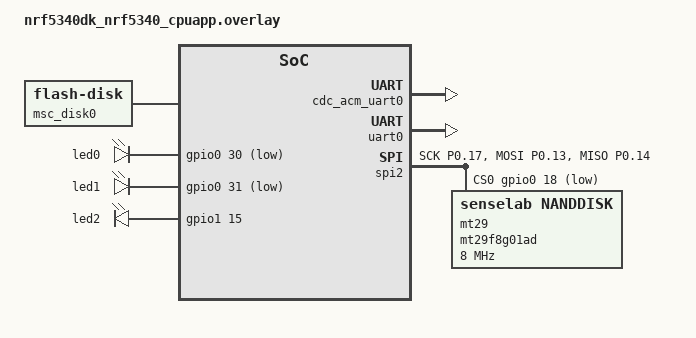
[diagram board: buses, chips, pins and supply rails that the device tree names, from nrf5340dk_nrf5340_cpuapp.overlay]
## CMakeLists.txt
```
# SPDX-License-Identifier: Apache-2.0

cmake_minimum_required(VERSION 3.20.0)

#add_subdirectory(src/drivers)

list(APPEND ZEPHYR_EXTRA_MODULES ${CMAKE_CURRENT_SOURCE_DIR}/src/drivers)

find_package(Zephyr REQUIRED HINTS $ENV{ZEPHYR_BASE})

project(spi_flash)



FILE(GLOB app_sources src/*.c)
target_sources(app PRIVATE ${app_sources})
```

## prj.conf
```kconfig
CONFIG_STDOUT_CONSOLE=y
CONFIG_DEBUG_OPTIMIZATIONS=y

CONFIG_TEST_RANDOM_GENERATOR=y
CONFIG_TIMER_RANDOM_GENERATOR=y

CONFIG_LOG=y
CONFIG_LOG_BUFFER_SIZE=10096
CONFIG_FLASH_LOG_LEVEL_INF=y
CONFIG_FLASH=y
CONFIG_FLASH_PAGE_LAYOUT=y
CONFIG_FLASH_MAP=y
CONFIG_LOG_PRINTK=y
CONFIG_PRINTK=y
CONFIG_BOARD_ENABLE_DCDC_APP=n
CONFIG_BOARD_ENABLE_DCDC_NET=n
CONFIG_USE_SEGGER_RTT=y
CONFIG_RTT_CONSOLE=y
CONFIG_LOG_BACKEND_RTT=y

CONFIG_BT=y
#CONFIG_BOOTLOADER_MCUBOOT=y
#CONFIG_DEBUG=y
#CONFIG_NO_OPTIMIZATIONS=y
CONFIG_USB_MASS_STORAGE=y
CONFIG_MASS_STORAGE_DISK_NAME="SD"
CONFIG_MASS_STORAGE_STACK_SIZE=4096
CONFIG_USB_MASS_STORAGE_LOG_LEVEL_INF=y

CONFIG_USB_DEVICE_STACK=y
CONFIG_USB_DEVICE_PRODUCT="Zephyr MSC sample"
CONFIG_USB_DEVICE_PID=0x0008
CONFIG_USB_DEVICE_INITIALIZE_AT_BOOT=n
CONFIG_DISK_ACCESS=y
CONFIG_DISK_DRIVER_RAM=n
CONFIG_DISK_DRIVER_RAW_NAND=y
CONFIG_DISK_DRIVER_FLASH=n

CONFIG_SPI_NOR_FLASH_LAYOUT_PAGE_SIZE=4096


CONFIG_FILE_SYSTEM=y
CONFIG_FAT_FILESYSTEM_ELM=y

CONFIG_FS_FATFS_MAX_SS=4096
CONFIG_FS_FATFS_EXFAT=n
CONFIG_FS_FATFS_MAX_ROOT_ENTRIES=4096
CONFIG_FS_FATFS_LFN=y

CONFIG_FILE_SYSTEM_LITTLEFS=n
CONFIG_FS_LITTLEFS_BLK_DEV=y

CONFIG_FS_LITTLEFS_CACHE_SIZE=4096
CONFIG_FS_LITTLEFS_READ_SIZE=4096
CONFIG_FS_LITTLEFS_PROG_SIZE=4096
CONFIG_FS_LITTLEFS_LOOKAHEAD_SIZE=4096

CONFIG_MAIN_STACK_SIZE=50000
```

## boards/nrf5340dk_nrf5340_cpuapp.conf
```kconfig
#
# Copyright (c) 2020 Nordic Semiconductor ASA
#
# SPDX-License-Identifier: Apache-2.0
#

CONFIG_SPI=y
```

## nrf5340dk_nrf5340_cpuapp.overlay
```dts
/*
 * Copyright (c) 2020 Nordic Semiconductor ASA
 *
 * SPDX-License-Identifier: Apache-2.0
 */

 

 / {
aliases {
	spi-flash0 = &mt29;
	
};
 };

 / {
	chosen {
	
		zephyr,console = &cdc_acm_uart0;
        zephyr,shell-uart = &cdc_acm_uart0;
		};
	};
	


 &spi1 {
    status = "disabled";
};

&spi4 {
	status = "disabled";
};



&zephyr_udc0 {
    cdc_acm_uart0: cdc_acm_uart0 {
        compatible = "zephyr,cdc-acm-uart";
    };
};


&uart0 {
	status = "okay";
};

&i2c1 {
	status = "disabled";
};

&pwm0 {
	status = "disabled";
};




 &led0 {
    status = "okay";
	gpios = <&gpio0 30 GPIO_ACTIVE_LOW>;
};


&led1 {
    status = "okay";
    gpios = <&gpio0 31 GPIO_ACTIVE_LOW>;
};

&led2 {
    status = "okay";
	gpios = <&gpio1 15 GPIO_ACTIVE_HIGH>;
};



&led3 {
    status = "disabled";
};



&button0 {
    status = "disabled";
};

&button1 {
    status = "disabled";
};

&button2 {
    status = "disabled";
};

&button3 {
    status = "disabled";
};

&gpio_fwd {
	status = "okay";
};

/* End dev kit trim section */


 
&spi2 {
	status = "okay";
	pinctrl-0 = < &spi_flash_default>;
	pinctrl-1 = <&spi_flash_sleep>;
	pinctrl-names = "default", "sleep";
	cs-gpios = <&gpio0 18 GPIO_ACTIVE_LOW>, <&gpio0 4 GPIO_ACTIVE_LOW>;
	mt29: mt29f8g01ad@0 {
		compatible = "senselab,nanddisk";
		//size = <4194304000>;
		// size needs to be in bytes
		//size = <1073725440>;
		size = <2147450880>;
		reg = <0>;
		spi-max-frequency = <8000000>;
		jedec-id = [00 2c 47];
		status = "okay";
	};

};


&spi4 {
	status = "disabled";
	pinctrl-0 = < &spi_flash_default>;
	pinctrl-1 = <&spi_flash_sleep>;
	pinctrl-names = "default", "sleep";
	cs-gpios = <&gpio0 18 GPIO_ACTIVE_LOW>, <&gpio0 4 GPIO_ACTIVE_LOW>;
	mx66u: mx66u2g45g@0 {
		compatible = "jedec,spi-nor";
		//size = <4194304000>;
		// size needs to be in bytes
		//size = <1073725440>;
		size = <2147450880>;
		reg = <0>;
		spi-max-frequency = <8000000>;
		jedec-id = [c2 25 3c];
		status = "disabled";
	};

};


&qspi {
	status = "disabled";
};


/* 
&qspi {
	status = "okay";
	pinctrl-0 = <&qspi_default>;
	pinctrl-1 = <&qspi_sleep>;
	pinctrl-names = "default", "sleep";
	mx25r64: mx25r6435f@0 {
		compatible = "nordic,qspi-nor";
		reg = <0>;
		
		writeoc = "pp4io";
	
		readoc = "read4io";
		sck-frequency = <8000000>;
		jedec-id = [c2 28 17];
		sfdp-bfp = [
			e5 20 f1 ff  ff ff ff 03  44 eb 08 6b  08 3b 04 bb
			ee ff ff ff  ff ff 00 ff  ff ff 00 ff  0c 20 0f 52
			10 d8 00 ff  23 72 f5 00  82 ed 04 cc  44 83 68 44
			30 b0 30 b0  f7 c4 d5 5c  00 be 29 ff  f0 d0 ff ff
		];
		size = <67108864>;
		has-dpd;
		t-enter-dpd = <10000>;
		t-exit-dpd = <35000>;
	};
};

*/



&pinctrl {
	
 spi_flash_default: spi_flash_default {
	group1 {
		psels = <NRF_PSEL(SPIM_SCK, 0, 17)>,
			<NRF_PSEL(SPIM_MOSI, 0, 13)>,
			<NRF_PSEL(SPIM_MISO, 0, 14)>;
			
	};
};

spi_flash_sleep: spi_flash_sleep {
	group1 {
		psels = <NRF_PSEL(SPIM_SCK, 0, 17)>,
		<NRF_PSEL(SPIM_MOSI, 0, 13)>,
		<NRF_PSEL(SPIM_MISO, 0, 14)>;
		low-power-enable;
	};
};
	

spi1_default: spi1_default {
	group1 {
		psels = <NRF_PSEL(SPIM_SCK, 0, 23)>,
			<NRF_PSEL(SPIM_MISO, 0, 25)>,
			<NRF_PSEL(SPIM_MOSI, 0, 24)>,
			<NRF_PSEL(SPIS_CSN, 0, 26)>; 
	};
};

spi1_sleep: spi1_sleep {
	group1 {
		psels = <NRF_PSEL(SPIM_SCK, 0, 23)>,
			<NRF_PSEL(SPIM_MISO, 0, 25)>,
			<NRF_PSEL(SPIM_MOSI, 0, 24)>,
			<NRF_PSEL(SPIS_CSN, 0, 26)>;
		low-power-enable;
	};
};



};



/* 
&spi0 {
	status = "okay";
	compatible = "microchip,xec-qmspi-ldma";
	clock-frequency = <24000000>;
	lines = <4>;
	chip-select = <0>;

	pinctrl-0 = < &shd_cs0_n_gpio055
		      &shd_clk_gpio056
		      &shd_io0_gpio223
		      &shd_io1_gpio224
		      &shd_io2_gpio227
		      &shd_io3_gpio016 >;
	pinctrl-names = "default";

	spi1_cs0_flash: w25q128@0 {
		compatible = "jedec,spi-nor";
		size = <0x8000000>;
		reg = <0>;
		spi-max-frequency = <24000000>;
		jedec-id = [ef 40 18];
		status = "okay";
	};
};

 */

 
 /delete-node/ &storage_partition;

&mx66u {
	partitions {
		compatible = "fixed-partitions";
		#address-cells = <1>;
		#size-cells = <1>;

		storage_partition: partition@0 {
			label = "storage";
			reg = <0x00000000 0x000600000>;
		};
	};
};

/ {
	msc_disk0 {
		compatible = "zephyr,flash-disk";
		partition = <&storage_partition>;
		disk-name = "SD";
		cache-size = <4096>;
	};
};
```

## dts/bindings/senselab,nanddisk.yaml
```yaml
description: |
  Zephyr MMC disk node. A binding with this compatible present within an SD
  host controller device node indicates that an SDMMC disk is attached to that
  SD bus. This binding will enable that disk to be used with the disk driver
  API and any subsystems that utilize it.

compatible: "senselab,nanddisk"

include: ["spi-device.yaml", "jedec,spi-nor-common.yaml"]

properties:
  reg:
    required: true

  jedec-id:
    required: true

  size:
    type: int
    description: |
      The size in bits. Set this or size-in-bytes, but not both.
```

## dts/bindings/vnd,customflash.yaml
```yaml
# Copyright (c) 2019 Nordic Semiconductor ASA
# SPDX-License-Identifier: Apache-2.0

description: |
  QSPI NOR flash supporting the JEDEC CFI interface.

compatible: "senselab,qspinand"

include: [base.yaml, "jedec,spi-nor-common.yaml"]

on-bus: qspi

properties:
  reg:
    required: true

  jedec-id:
    required: true

  size:
    type: int
    description: |
      The size in bits. Set this or size-in-bytes, but not both.

  size-in-bytes:
    type: int
    description: |
      The size in bytes. Set this or size, but not both.

  # Match original driver NORDIC_QSPI_NOR_QE_BIT Kconfig default.
  quad-enable-requirements:
    default: "S1B6"

  readoc:
    type: string
    enum:
      - "fastread"        # Single data line SPI, FAST_READ (0x0B)
      - "read2o"          # Dual data line SPI, READ2O (0x3B)
      - "read2io"         # Dual data line SPI, READ2IO (0xBB)
      - "read4o"          # Quad data line SPI, READ4O (0x6B)
      - "read4io"         # Quad data line SPI, READ4IO (0xEB)
    description: |
      Specify the number of data lines and opcode used for reading.
      If not provided fastread will be selected.

  writeoc:
    type: string
    enum:
      - "pp"            # Single data line SPI, PP (0x02)
      - "pp2o"          # Dual data line SPI, PP2O (0xA2)
      - "pp4o"          # Quad data line SPI, PP4O (0x32)
      - "pp4io"         # Quad data line SPI, PP4IO (0x38)
    description: |
      Specify the number of data lines and opcode used for writing.
      If not provided pp will be selected.

  address-size-32:
    type: boolean
    description: |
      Set to indicate that 32-bit addressing is to be used.
      If not specified 24-bit addressing will be used.

  ppsize-512:
    type: boolean
    description: |
      Set to indicate that the write opcode operates on 512-byte pages.
      If not specified the write opcode operates on 256-byte pages.

  sck-delay:
    type: int
    default: 0
    description: |
      Number of clock cycles CSn must be asserted before it can go low
      again, specified in nanoseconds.

  rx-delay:
    type: int
    description: |
      Number of clock cycles from the rising edge of the SPI clock
      until the input serial data is sampled.

  cpha:
    type: boolean
    description: |
      Set to indicate phase starts with asserted half-phase (CPHA=1).
      For this driver using this property requires also using cpol.

  cpol:
    type: boolean
    description: |
      Set to indicate clock leading edge is falling (CPOL=1).
      For this driver using this property requires also using cpha.

  sck-frequency:
    type: int
    required: true
    description: |
      Maximum clock speed supported by the device, in Hz.
```

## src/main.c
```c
/*
 * Copyright (c) 2016 Intel Corporation.
 *
 * SPDX-License-Identifier: Apache-2.0
 */

#include <zephyr/kernel.h>
#include <zephyr/drivers/flash.h>
#include <zephyr/drivers/disk.h>
#include <zephyr/storage/disk_access.h>
#include "drivers/nand_disk.h"
#include "drivers/spi_nand.h"
#include <zephyr/device.h>
#include <zephyr/devicetree.h>
#include <zephyr/drivers/gpio.h>
#include <stdio.h>
#include <string.h>
#include <zephyr/usb/usb_device.h>
#include <zephyr/usb/class/usbd_msc.h>
#include <zephyr/usb/usbd.h>

#include <zephyr/logging/log.h>

LOG_MODULE_REGISTER(main, 3);

#if defined(CONFIG_BOARD_ADAFRUIT_FEATHER_STM32F405)
#define SPI_FLASH_TEST_REGION_OFFSET 0xf000
#elif defined(CONFIG_BOARD_ARTY_A7_ARM_DESIGNSTART_M1) || \
	defined(CONFIG_BOARD_ARTY_A7_ARM_DESIGNSTART_M3)
/* The FPGA bitstream is stored in the lower 536 sectors of the flash. */
#define SPI_FLASH_TEST_REGION_OFFSET \
	DT_REG_SIZE(DT_NODE_BY_FIXED_PARTITION_LABEL(fpga_bitstream))
#elif defined(CONFIG_BOARD_NPCX9M6F_EVB) || \
	defined(CONFIG_BOARD_NPCX7M6FB_EVB)
#define SPI_FLASH_TEST_REGION_OFFSET 0x7F000
#else
#define SPI_FLASH_TEST_REGION_OFFSET 0xff000
#endif
#define SPI_FLASH_SECTOR_SIZE        4096

#define LED0_NODE DT_ALIAS(led0)

#define LED_PIN DT_GPIO_PIN(LED0_NODE, gpios)
#define LED_FLAGS DT_GPIO_FLAGS(LED0_NODE, gpios)

#define POWER_NODE DT_ALIAS(led2)
#define POWER_PIN DT_GPIO_PIN(POWER_NODE, gpios)
#define POWER_FLAGS DT_GPIO_FLAGS(POWER_NODE, gpios)


int flash_erase_test(const struct device* flash_dev, bool chip_erase){

	int rc;
	/* Write protection needs to be disabled before each write or
	 * erase, since the flash component turns on write protection
	 * automatically after completion of write and erase
	 * operations.
	 */
	
	
	//detect_bad_blocks(flash_dev);
	/* Full flash erase if SPI_FLASH_TEST_REGION_OFFSET = 0 and
	 * SPI_FLASH_SECTOR_SIZE = flash size
	 */
	
	if (chip_erase){
	#ifdef CONFIG_DISK_DRIVER_RAW_NAND
	//rc = spi_nand_whole_chip_erase(flash_dev);
	rc = spi_nand_multi_chip_erase(flash_dev);
	//rc = spi_nand_block_erase(flash_dev, 64);
	#endif
	if (rc != 0) {
		printk("Flash erase failed! %d\n", rc);
	} else {
		printk("Flash erase succeeded!\n");
	}
	}
	return rc;
}

#ifdef CONFIG_DISK_DRIVER_RAW_NAND
int flash_simple_read_erased_test(const struct device* flash_dev){
	int rc;

	return rc;
}	

int flash_simple_write_read_test(const struct device* flash_dev, bool write, bool read_out_whole_page, int sector){
	uint8_t expected[4096];
	int rc;
	for (int i = 0; i < sizeof(expected); i++){
		expected[i] = i % 9;
	}
	const size_t len = sizeof(expected);
	uint8_t buf[sizeof(expected)];



	
	printk("Attempting to write %zu bytes\n", len);
				
		
	
		if (write){
			rc = spi_nand_page_write(flash_dev, sector, expected, len);
		}
	
	if (rc != 0) {
		printk("Flash write failed! %d\n", rc);
	}
	const char* disk_name = "SD";
	// 4 gigabit is 536870912 bytes / 4096 = 131072 pages (131071 is last address)

	memset(buf, 0, len);
	//set_flash(flash_dev, 1);
	rc = spi_nand_page_read(flash_dev, sector, buf);
	if (rc != 0) {
		printk("Flash read failed! %d\n", rc);
	}
	bool print_results = true;
	const uint8_t *wp = expected;
	const uint8_t *rp = buf;
	
	int print_amount = 4096; //? 100: read_out_whole_page;
	const uint8_t *rpe = rp + print_amount;

	if (memcmp(expected, buf, len) == 0) {
		printk("Data read matches data written. Good!!\n");
		while (rp < rpe && print_results) {
			if (*rp != 0xff){
			printk("%08x wrote %02x read %02x %s\n",
			       (uint32_t)(SPI_FLASH_TEST_REGION_OFFSET + (rp - buf)),
			       *wp, *rp, (*rp == *wp) ? "match" : "MISMATCH");
			}
			++rp;
			++wp;
		}
	} else {

		printk("Data read does not match data written!!\n");
		while (rp < rpe && print_results) {
			if (*rp != 0xff){
			printk("%08x wrote %02x read %02x %s\n",
			       (uint32_t)(SPI_FLASH_TEST_REGION_OFFSET + (rp - buf)),
			       *wp, *rp, (*rp == *wp) ? "match" : "MISMATCH");
			}
			++rp;
			++wp;
		}
		
	}


}

void flash_multi_write_read_test(const struct device* flash_dev, bool write, int sect_num){

	uint8_t expected[4096];
	for (int i = 0; i < sizeof(expected); i++){
		expected[i] = i % 9;
	}
	const size_t len = sizeof(expected);
	uint8_t buf[sizeof(expected)];
	
	int rc = 0;

	for (int sector_num = sect_num; sector_num < sect_num + 2; sector_num++){
		printk("Attempting to read/write %zu bytes to %d \n", len, sector_num);
	//rc = flash_write(flash_dev, SPI_FLASH_TEST_REGION_OFFSET, expected, len);
		
		
		const char* disk_name = "SD";
	
		if (write){
	
			disk_access_write(disk_name, expected, sector_num, 1);
			//disk_access_write(disk_name, expected, sector_num, 1);
		}
	//rc = disk_api->write(&sdmmc_disk, expected, 4, 0);
	//rc = spi_nand_page_write(flash_dev, 4, expected, len);
	//rc = flash_write(flash_dev, SPI_FLASH_TEST_REGION_OFFSET, expected, len);
	if (rc != 0) {
		printk("Flash write failed! %d\n", rc);
	}
	
	// 4 gigabit is 536870912 bytes / 4096 = 131072 pages (131071 is last address)

	memset(buf, 0, len);
	//set_flash(flash_dev, 1);
	rc = disk_access_read(disk_name, buf, sector_num, 1);
	set_flash(flash_dev, 0);
	//rc = spi_nand_page_read(flash_dev, 4, buf); 
	//rc = flash_read(flash_dev, SPI_FLASH_TEST_REGION_OFFSET, buf, len);
	if (rc != 0) {
		printk("Flash read failed! %d\n", rc);
		
	}
	bool print_results = true;
	const uint8_t *wp = expected;
	const uint8_t *rp = buf;
	const uint8_t *rpe = rp + 50;

	if (memcmp(expected, buf, len) == 0) {
		printk("Data read matches data written. Good!!\n");
		while (rp < rpe && print_results) {
			printk("%08x wrote %02x read %02x %s\n",
			       (uint32_t)(SPI_FLASH_TEST_REGION_OFFSET + (rp - buf)),
			       *wp, *rp, (*rp == *wp) ? "match" : "MISMATCH");
			++rp;
			++wp;
		}
	} else {

		printk("Data read does not match data written!!\n");
		while (rp < rpe && print_results) {
			printk("%08x wrote %02x read %02x %s\n",
			       (uint32_t)(SPI_FLASH_TEST_REGION_OFFSET + (rp - buf)),
			       *wp, *rp, (*rp == *wp) ? "match" : "MISMATCH");
			++rp;
			++wp;
		}
		
	}

	}
	
	k_sleep(K_MSEC(500));
}

void flash_testing_and_erase(bool chip_erase, bool write)
{
	//test_cmd();
	
	const struct device *flash_dev;
	const struct device* test_qspi_dev = DEVICE_DT_GET(DT_NODELABEL(gpio1));
	printk("got first device\n");
	
	flash_dev = DEVICE_DT_GET(DT_ALIAS(spi_flash0));
	const struct device* spi_dev; //= DEVICE_DT_GET(DT_NODELABEL(spi4));
	spi_dev = device_get_binding("spi@9000");
	

	if (!device_is_ready(flash_dev)) {
		printk("%s: device not ready.\n", flash_dev->name);
		return;
	}


	const struct disk_operations* disk_api = (const struct disk_operations*)spi_dev->api;
 
	printk("\n%s SPI flash testing\n", flash_dev->name);
	printk("==========================\n");
	k_sleep(K_MSEC(500));

	printk("\nTest 1: Flash erase\n");
	k_sleep(K_MSEC(500));
	flash_erase_test(flash_dev, chip_erase);
	

	printk("\nTest 2: Flash write\n");
	//flash_simple_write_read_test(flash_dev, write, true, 27141);
	
	
	flash_multi_write_read_test(flash_dev, write, 72);
	
	flash_multi_write_read_test(flash_dev, write, 400);
	flash_multi_write_read_test(flash_dev, write, 2061);
	flash_multi_write_read_test(flash_dev, write, 27141);
	flash_multi_write_read_test(flash_dev, write, 27295);
	flash_multi_write_read_test(flash_dev, write, 131071);
	flash_multi_write_read_test(flash_dev, write, 131072);
	flash_multi_write_read_test(flash_dev, write, 131075*2);
	flash_multi_write_read_test(flash_dev, write, (131075*3) + 50);
	
	printk("done with all tests!\n");
}
#endif

void main(void){
	LOG_INF("Start\n");
	const struct device* gpio_dev = DEVICE_DT_GET(DT_NODELABEL(gpio0));
	int ret = gpio_pin_configure(gpio_dev, LED_PIN, GPIO_OUTPUT_ACTIVE |LED_FLAGS);
	ret = gpio_pin_configure(DEVICE_DT_GET(DT_NODELABEL(gpio1)), POWER_PIN, GPIO_OUTPUT_ACTIVE | POWER_FLAGS);
	ret = usb_enable(NULL);
	k_sleep(K_SECONDS(2));
	flash_testing_and_erase(true, false);
	
	
	
	k_sleep(K_SECONDS(4));
	storage_main();
	usb_disable();
	usb_enable(NULL);
	
	
	ret = gpio_pin_set(gpio_dev, LED_PIN, 0);
	LOG_INF("end of main");
	
    
	
} 
```

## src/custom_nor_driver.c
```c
/*This is an attempt at making a custom flash driver */

#include <zephyr/drivers/flash.h>

//must put this with the compatable: vnd, customflash in device tree

#define DT_DRV_COMPAT vnd_customflash


/* Define data (RAM) and configuration (ROM) structures: */
struct my_dev_data {


     /* per-device values to store in RAM */
};
struct my_dev_cfg {
     uint32_t freq; /* Just an example: initial clock frequency in Hz */
     /* other configuration to store in ROM */
};

/**
 * @brief Initialize and configure the flash
 *
 * @param name The flash name
 * @return 0 on success, negative errno code otherwise
 */
static int qspi_nor_init(const struct device *dev)
{
    return 0;
}




static int custom_erase(const struct device *dev, off_t addr, size_t size){
    return 0;
}

static int custom_write(const struct device *dev, off_t addr,
			const void *src,
			size_t size)
{
            return 0;
}

static int custom_read(const struct device *dev, off_t addr, void *dest,
			size_t size){


                return 0;
            }



static const struct flash_driver_api custom_api = {
    .read = custom_read,
    .write = custom_write,
    .erase = custom_erase,
};




#define CREATE_MY_DEVICE(inst)                                       \
     static struct my_dev_data my_data_##inst = {                    \
             /* initialize RAM values as needed, e.g.: */            \
                                  \
                                                                     \
     };                                                              \
     static const struct my_dev_cfg my_cfg_##inst = {                \
             /* initialize ROM values as needed. */                  \
     };                                                              \
     DEVICE_DT_INST_DEFINE(inst,                                     \
                           qspi_nor_init,                     \
                           NULL,                                     \
                           &my_data_##inst,                          \
                           &my_cfg_##inst,                           \
                           POST_KERNEL, 5,  \
                           &custom_api);



/* Call the device creation macro for each instance: */
DT_INST_FOREACH_STATUS_OKAY(CREATE_MY_DEVICE)


/* I love writing low level code! */
```

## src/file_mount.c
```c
/*
 * Copyright (c) 2016 Intel Corporation.
 * Copyright (c) 2019-2020 Nordic Semiconductor ASA
 *
 * SPDX-License-Identifier: Apache-2.0
 */

#include <zephyr/kernel.h>
#include <zephyr/logging/log.h>
#include <ff.h>
#include <zephyr/fs/fs.h>
#include <zephyr/random/rand32.h>
#include <stdio.h>
#include <zephyr/usb/usb_device.h>
#include <zephyr/usb/class/usbd_msc.h>
#include <zephyr/usb/usbd.h>

LOG_MODULE_REGISTER(file_mount, 4);

#if CONFIG_DISK_DRIVER_FLASH
#include <zephyr/storage/flash_map.h>
#endif

#if CONFIG_FAT_FILESYSTEM_ELM
#include <ff.h>
#endif

#if CONFIG_FILE_SYSTEM_LITTLEFS
#include <zephyr/fs/littlefs.h>
FS_LITTLEFS_DECLARE_DEFAULT_CONFIG(storage);
#endif


#define STORAGE_PARTITION		storage_partition
#define STORAGE_PARTITION_ID		FIXED_PARTITION_ID(STORAGE_PARTITION)

static struct fs_mount_t fs_mnt;

#if defined(CONFIG_USB_DEVICE_STACK_NEXT)
USBD_CONFIGURATION_DEFINE(config_1,
			  USB_SCD_SELF_POWERED,
			  200);

USBD_DESC_LANG_DEFINE(sample_lang);
USBD_DESC_MANUFACTURER_DEFINE(sample_mfr, "ZEPHYR");
USBD_DESC_PRODUCT_DEFINE(sample_product, "Zephyr USBD MSC");
USBD_DESC_SERIAL_NUMBER_DEFINE(sample_sn, "0123456789ABCDEF");


USBD_DEVICE_DEFINE(sample_usbd,
		   DEVICE_DT_GET(DT_NODELABEL(zephyr_udc0)),
		   0x2fe3, 0x0008);

#if CONFIG_DISK_DRIVER_RAM
USBD_DEFINE_MSC_LUN(RAM, "Zephyr", "RAMDisk", "0.00");
#endif

#if CONFIG_DISK_DRIVER_FLASH
USBD_DEFINE_MSC_LUN(NAND, "Zephyr", "FlashDisk", "0.00");
#endif

#if CONFIG_DISK_DRIVER_SDMMC
USBD_DEFINE_MSC_LUN(SD, "Zephyr", "SD", "0.00");
#endif

static int enable_usb_device_next(void)
{
	int err;

	err = usbd_add_descriptor(&sample_usbd, &sample_lang);
	if (err) {
		LOG_ERR("Failed to initialize language descriptor (%d)", err);
		return err;
	}

	err = usbd_add_descriptor(&sample_usbd, &sample_mfr);
	if (err) {
		LOG_ERR("Failed to initialize manufacturer descriptor (%d)", err);
		return err;
	}

	err = usbd_add_descriptor(&sample_usbd, &sample_product);
	if (err) {
		LOG_ERR("Failed to initialize product descriptor (%d)", err);
		return err;
	}

	err = usbd_add_descriptor(&sample_usbd, &sample_sn);
	if (err) {
		LOG_ERR("Failed to initialize SN descriptor (%d)", err);
		return err;
	}

	err = usbd_add_configuration(&sample_usbd, &config_1);
	if (err) {
		LOG_ERR("Failed to add configuration (%d)", err);
		return err;
	}

	err = usbd_register_class(&sample_usbd, "msc_0", 1);
	if (err) {
		LOG_ERR("Failed to register MSC class (%d)", err);
		return err;
	}

	err = usbd_init(&sample_usbd);
	if (err) {
		LOG_ERR("Failed to initialize device support");
		return err;
	}

	err = usbd_enable(&sample_usbd);
	if (err) {
		LOG_ERR("Failed to enable device support");
		return err;
	}

	LOG_DBG("USB device support enabled");

	return 0;
}
#endif /* IS_ENABLED(CONFIG_USB_DEVICE_STACK_NEXT) */

int IDCounter = 0;
void create_test_files(){
	//printk("trying to write files...\n");
	struct fs_file_t test_file;
	fs_file_t_init(&test_file);
	char destination[80] = "";
	int ID = 0;
	ID = IDCounter;
	IDCounter++;
	char IDString[8];
	itoa(ID, IDString,  10);
	struct fs_mount_t* mp = &fs_mnt;
	strcat(destination, mp->mnt_point);
	strcat(destination, "/");
	//fs_mkdir(destination)
	strcat(destination, IDString);
	strcat(destination, "l.txt"); 
	
	int file_create = fs_open(&test_file, destination, FS_O_CREATE | FS_O_WRITE);
	//FRESULT res = f_expand(test_file.filep, 4096*128, 0);
	if (file_create == 0){
		char a[4096] = "hello world htfhtfhtfhtfhtfhtfhtfhtfhtfhtfhtfhtfhtfhtf";
		printk("trying to write file %s...\n", destination);
		for (int x = 0; x < 128; x++){
		fs_write(&test_file, a, sizeof(a));
		//k_sleep(K_MSEC(500));
		}
		//printk("done writing\n");
		fs_close(&test_file);
	}
}


static int setup_flash(struct fs_mount_t *mnt)
{
	int rc = 0;
#if CONFIG_DISK_DRIVER_FLASH
	unsigned int id;
	const struct flash_area *pfa;

	mnt->storage_dev = (void *)STORAGE_PARTITION_ID;
	id = STORAGE_PARTITION_ID;

	rc = flash_area_open(id, &pfa);
	printk("Area %u at 0x%x on %s for %u bytes\n",
	       id, (unsigned int)pfa->fa_off, pfa->fa_dev->name,
	       (unsigned int)pfa->fa_size);

	if (rc < 0 && IS_ENABLED(CONFIG_APP_WIPE_STORAGE)) {
		printk("Erasing flash area ... ");
		rc = flash_area_erase(pfa, 0, pfa->fa_size);
		printk("%d\n", rc);
	}

	if (rc < 0) {
		flash_area_close(pfa);
	}
#endif
	return rc;
}

static int mount_app_fs(struct fs_mount_t *mnt)
{
	int rc;

#if CONFIG_FAT_FILESYSTEM_ELM
	static FATFS fat_fs;
	
	mnt->type = FS_FATFS;
	mnt->fs_data = &fat_fs;
	if (IS_ENABLED(CONFIG_DISK_DRIVER_RAM)) {
		mnt->mnt_point = "/RAM:";
	} else if (IS_ENABLED(CONFIG_DISK_DRIVER_SDMMC) | IS_ENABLED(CONFIG_DISK_DRIVER_RAW_NAND) | 
	IS_ENABLED(CONFIG_DISK_DRIVER_FLASH)) {
		mnt->mnt_point = "/SD:";
	}
	
	
#elif CONFIG_FILE_SYSTEM_LITTLEFS
	mnt->type = FS_LITTLEFS;
	mnt->mnt_point = "/lfs";
	//storage.backend 
	mnt->storage_dev = "SD";
	mnt->fs_data = &storage;
	mnt->flags = FS_MOUNT_FLAG_USE_DISK_ACCESS;
#endif
	LOG_INF("start mount");
	rc = fs_mount(mnt);

	return rc;
}

static void setup_disk(void)
{

	struct fs_mount_t *mp = &fs_mnt;
	struct fs_dir_t dir;
	struct fs_statvfs sbuf;
	int rc;

	fs_dir_t_init(&dir);

	if (IS_ENABLED(CONFIG_DISK_DRIVER_FLASH)) {
		rc = setup_flash(mp);
		if (rc < 0) {
			LOG_ERR("Failed to setup flash area");
			return;
		}
	}

	if (!IS_ENABLED(CONFIG_FILE_SYSTEM_LITTLEFS) &&
	    !IS_ENABLED(CONFIG_FAT_FILESYSTEM_ELM)) {
		LOG_INF("No file system selected");
		return;
	}

	rc = mount_app_fs(mp);
	if (rc < 0) {
		LOG_ERR("Failed to mount filesystem");
		return;
	}

	/* Allow log messages to flush to avoid interleaved output */
	k_sleep(K_MSEC(50));

	printk("Mount %s: %d\n", fs_mnt.mnt_point, rc);

	char folder_location[15];
	strcat(folder_location, mp->mnt_point);
	strcat(folder_location, "/ac");
	// This works, the behavior is just werid. It writes from sector 50 to 60, presumably for file space.
	//fs_mkdir(folder_location);
	//printk("folder created, now creating files");
	
	for (int x = 0; x < 3000; x++){
		create_test_files();
		if (x % 100 == 0){
			printk("file num: %i\n", x);
		}
		

	}
	
	
	k_sleep(K_SECONDS(2));
	
	rc = fs_statvfs(mp->mnt_point, &sbuf);
	if (rc < 0) {
		printk("FAIL: statvfs: %d\n", rc);
		return;
	}

	printk("%s: bsize = %lu ; frsize = %lu ;"
	       " blocks = %lu ; bfree = %lu\n",
	       mp->mnt_point,
	       sbuf.f_bsize, sbuf.f_frsize,
	       sbuf.f_blocks, sbuf.f_bfree);

	rc = fs_opendir(&dir, mp->mnt_point);
	printk("%s opendir: %d\n", mp->mnt_point, rc);

	if (rc < 0) {
		LOG_ERR("Failed to open directory");
	
	}
	
	
	while (rc >= 0) {
		struct fs_dirent ent = { 0 };

		rc = fs_readdir(&dir, &ent);
		if (rc < 0) {
			LOG_ERR("Failed to read directory entries");
			break;
		}
		if (ent.name[0] == 0) {
			printk("End of files\n");
			break;
		}
		printk("  %c %u %s\n",
		       (ent.type == FS_DIR_ENTRY_FILE) ? 'F' : 'D',
		       ent.size,
		       ent.name);
			   
	}
	printk("%s: bsize = %lu ; frsize = %lu ;"
	       " blocks = %lu ; bfree = %lu\n",
	       mp->mnt_point,
	       sbuf.f_bsize, sbuf.f_frsize,
	       sbuf.f_blocks, sbuf.f_bfree);
	(void)fs_closedir(&dir);
	
	return;
}

int storage_main(void)
{
	int ret;

	setup_disk();

	//k_sleep(K_SECONDS(8));
#if defined(CONFIG_USB_DEVICE_STACK_NEXT)
	ret = enable_usb_device_next();
#else
	
#endif
	if (ret != 0) {
		LOG_ERR("Failed to enable USB");
		return 0;
	}
	LOG_INF("USB is in Mass storage mode");

	return 0;
}
```

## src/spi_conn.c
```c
#include <zephyr/drivers/spi.h>
#include <zephyr/kernel.h>
#include <zephyr/devicetree.h>


void test_cmd(){
    
    struct device* spi_dev_flash = DEVICE_DT_GET(DT_ALIAS(spi_flash0));
    if (!device_is_ready(spi_dev_flash)){
        printk("device not ready\n");
        return;
    }
    struct spi_config spi_cfg_flash =
    {
    .frequency = 800000,
    .operation = SPI_WORD_SET(8) | SPI_TRANSFER_MSB |
                 SPI_MODE_CPOL | SPI_MODE_CPHA,
    .slave = 0,
    // this should work, but for some reason it doesn't. However, this might work without
    // the cs field anyway, apparently it is auto managed, so test first
    //.cs = SPI_CS_CONTROL_PTR_DT(DT_NODELABEL(spi2), 0)
    };
    uint8_t op_code = 0x9f;

    uint8_t rx[3] = {0, 0 , 0}; 
    const struct spi_buf tx = {
        .buf = &op_code,
        .len = 1
    };
    const struct spi_buf rx_buf = {
        .buf = rx,
        .len = 3
    };

    const struct spi_buf_set tx_set = {
		.buffers = &tx,
		.count = 1,
	};

    const struct spi_buf_set rx_set = {
		.buffers = &rx_buf,
		.count = 1,
	};
    spi_transceive(spi_dev_flash, &spi_cfg_flash, &tx_set, &rx_set);
    printk("id: %i, %i, %i", rx[0], rx[1], rx[2]);
}
```
